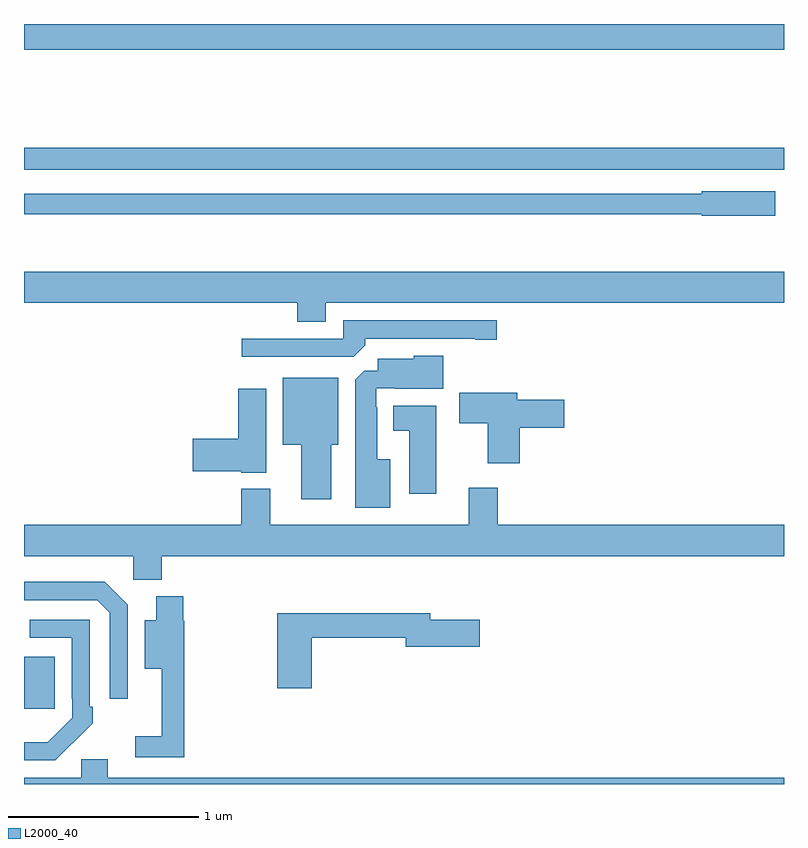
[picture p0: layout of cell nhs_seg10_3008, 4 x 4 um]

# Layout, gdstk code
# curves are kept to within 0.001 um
import gdstk
lib = gdstk.Library(unit=1e-6, precision=1e-09)
def R(c, l, rs):  # rectangles x0, y0, x1, y1
    for r in rs: c.add(gdstk.rectangle(r[:2], r[2:], *l))
def P(c, l, *ps):  # polygons
    for p in ps: c.add(gdstk.Polygon(p, *l))
L2000_40 = (2000, 40)

nhs_seg10_3008 = lib.new_cell('nhs_seg10_3008')
R(nhs_seg10_3008, L2000_40, [(275,1248.897,275.161,1249.171), (275,1251.732,279,1251.848), (275,1252.364,279,1252.5)])
P(nhs_seg10_3008, L2000_40, [(278.953,1251.619),(278.568,1251.619),(278.568,1251.606),(275,1251.606),(275,1251.498),(278.568,1251.498),(278.568,1251.49),(278.953,1251.49)],
  [(276.589,1251.032),(279,1251.032),(279,1251.196),(275,1251.196),(275,1251.032),(276.437,1251.032),(276.437,1250.933),(276.589,1250.933)],
  [(276.797,1250.81),(276.797,1250.844),(277.376,1250.844),(277.376,1250.839),(277.489,1250.839),(277.489,1250.94),(276.681,1250.94),(276.681,1250.844),(276.147,1250.844),(276.147,1250.748),(276.735,1250.748)],
  [(276.928,1250.209),(276.859,1250.209),(276.859,1250.483),(276.855,1250.483),(276.855,1250.583),(276.955,1250.583),(276.955,1250.579),(277.207,1250.579),(277.207,1250.755),(277.05,1250.755),(277.05,1250.737),(276.863,1250.737),(276.863,1250.676),(276.792,1250.676),(276.743,1250.627),(276.743,1249.955),(276.928,1249.955)],
  [(276.616,1250.285),(276.655,1250.285),(276.655,1250.638),(276.362,1250.638),(276.362,1250.285),(276.458,1250.285),(276.458,1249.998),(276.616,1249.998)],
  [(276.274,1250.581),(276.128,1250.581),(276.128,1250.318),(275.889,1250.318),(275.889,1250.147),(276.144,1250.147),(276.144,1250.138),(276.274,1250.138)],
  [(277.61,1250.375),(277.843,1250.375),(277.843,1250.522),(277.597,1250.522),(277.597,1250.56),(277.29,1250.56),(277.29,1250.398),(277.442,1250.398),(277.442,1250.187),(277.61,1250.187)],
  [(277.171,1250.491),(276.944,1250.491),(276.944,1250.36),(277.028,1250.36),(277.028,1250.028),(277.171,1250.028)],
  [(275.726,1249.7),(279,1249.7),(279,1249.864),(277.493,1249.864),(277.493,1250.059),(277.34,1250.059),(277.34,1249.864),(276.295,1249.864),(276.295,1250.053),(276.143,1250.053),(276.143,1249.864),(275,1249.864),(275,1249.7),(275.574,1249.7),(275.574,1249.574),(275.726,1249.574)],
  [(275.547,1249.443),(275.426,1249.564),(275,1249.564),(275,1249.467),(275.385,1249.467),(275.451,1249.401),(275.451,1248.948),(275.547,1248.948)],
  [(275.843,1249.359),(275.837,1249.359),(275.837,1249.489),(275.696,1249.489),(275.696,1249.363),(275.636,1249.363),(275.636,1249.106),(275.726,1249.106),(275.726,1248.751),(275.586,1248.751),(275.586,1248.642),(275.843,1248.642)],
  [(276.515,1249.27),(277.01,1249.27),(277.01,1249.223),(277.399,1249.223),(277.399,1249.365),(277.138,1249.365),(277.138,1249.399),(276.332,1249.399),(276.332,1249.005),(276.515,1249.005)],
  [(275.255,1248.715),(275.256,1248.714),(275.361,1248.819),(275.361,1248.907),(275.346,1248.907),(275.346,1249.365),(275.031,1249.365),(275.031,1249.269),(275.25,1249.269),(275.25,1248.949),(275.253,1248.949),(275.253,1248.849),(275.125,1248.721),(275,1248.72),(275,1248.624),(275.164,1248.624)],
  [(279,1248.532),(275.44,1248.532),(275.44,1248.63),(275.301,1248.63),(275.301,1248.532),(275,1248.532),(275,1248.5),(279,1248.5)])

lib.write_gds('nhs_seg10_3008.gds')
